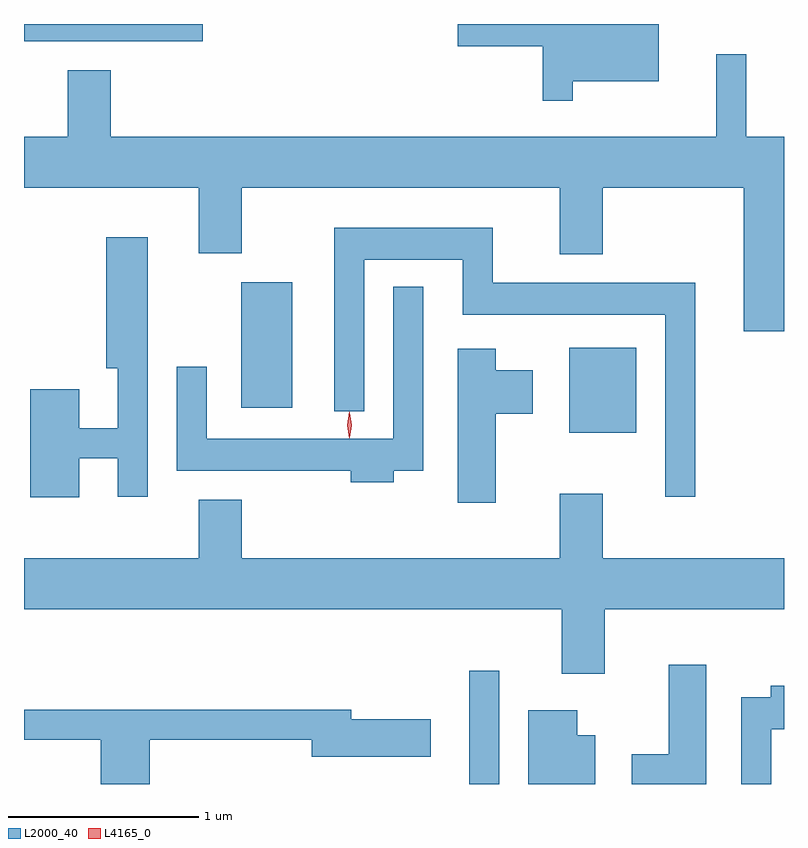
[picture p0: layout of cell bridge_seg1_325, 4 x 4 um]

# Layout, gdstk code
import gdstk
lib = gdstk.Library(unit=1e-6, precision=1e-09)
def R(c, l, rs):  # rectangles x0, y0, x1, y1
    for r in rs: c.add(gdstk.rectangle(r[:2], r[2:], *l))
def P(c, l, *ps):  # polygons
    for p in ps: c.add(gdstk.Polygon(p, *l))
L2000_40 = (2000, 40)
L4165_0 = (4165, 0)

bridge_seg1_325 = lib.new_cell('bridge_seg1_325')
R(bridge_seg1_325, L2000_40, [(930.936,876.457,931.094,877.053), (931.461,878.306,931.814,878.754), (929.736,878.436,930.004,879.099), (928.592,880.366,929.534,880.457)])
P(bridge_seg1_325, L2000_40, [(931.479,880.156),(931.934,880.156),(931.934,880.457),(930.876,880.457),(930.876,880.341),(931.321,880.341),(931.321,880.053),(931.479,880.053)],
  [(932.592,879.864),(932.394,879.864),(932.394,880.298),(932.236,880.298),(932.236,879.864),(929.049,879.864),(929.049,880.214),(928.821,880.214),(928.821,879.864),(928.592,879.864),(928.592,879.596),(929.511,879.596),(929.511,879.251),(929.739,879.251),(929.739,879.596),(931.411,879.596),(931.411,879.246),(931.639,879.246),(931.639,879.596),(932.381,879.596),(932.381,878.841),(932.592,878.841)],
  [(932.124,879.094),(931.059,879.094),(931.059,879.384),(930.226,879.384),(930.226,878.418),(930.384,878.418),(930.384,879.216),(930.901,879.216),(930.901,878.926),(931.966,878.926),(931.966,877.968),(932.124,877.968)],
  [(928.884,878.171),(929.086,878.171),(929.086,877.968),(929.244,877.968),(929.244,879.334),(929.026,879.334),(929.026,878.646),(929.086,878.646),(929.086,878.329),(928.884,878.329),(928.884,878.534),(928.626,878.534),(928.626,877.966),(928.884,877.966)],
  [(930.539,878.106),(930.694,878.106),(930.694,879.073),(930.536,879.073),(930.536,878.274),(929.554,878.274),(929.554,878.653),(929.396,878.653),(929.396,878.106),(930.311,878.106),(930.311,878.046),(930.539,878.046)],
  [(931.074,878.406),(931.269,878.406),(931.269,878.634),(931.074,878.634),(931.074,878.749),(930.876,878.749),(930.876,877.936),(931.074,877.936)],
  [(931.649,877.376),(932.592,877.376),(932.592,877.644),(931.639,877.644),(931.639,877.984),(931.411,877.984),(931.411,877.644),(929.739,877.644),(929.739,877.954),(929.511,877.954),(929.511,877.644),(928.592,877.644),(928.592,877.376),(931.421,877.376),(931.421,877.036),(931.649,877.036)],
  [(932.184,877.084),(931.986,877.084),(931.986,876.614),(931.791,876.614),(931.791,876.457),(932.184,876.457)],
  [(932.524,876.746),(932.592,876.746),(932.592,876.974),(932.521,876.974),(932.521,876.914),(932.366,876.914),(932.366,876.457),(932.524,876.457)],
  [(929.254,876.691),(930.106,876.691),(930.106,876.601),(930.734,876.601),(930.734,876.799),(930.314,876.799),(930.314,876.849),(928.592,876.849),(928.592,876.691),(928.996,876.691),(928.996,876.457),(929.254,876.457)],
  [(931.599,876.714),(931.504,876.714),(931.504,876.844),(931.246,876.844),(931.246,876.457),(931.599,876.457)])
P(bridge_seg1_325, L4165_0, [(930.307,878.279),(930.306,878.28),(930.297,878.346),(930.306,878.412),(930.306,878.413),(930.307,878.412),(930.317,878.346),(930.307,878.28)],
  [(930.304,878.277),(930.304,878.277),(930.294,878.346),(930.304,878.416),(930.304,878.416),(930.305,878.416),(930.314,878.346),(930.305,878.277)])

lib.write_gds('bridge_seg1_325.gds')
